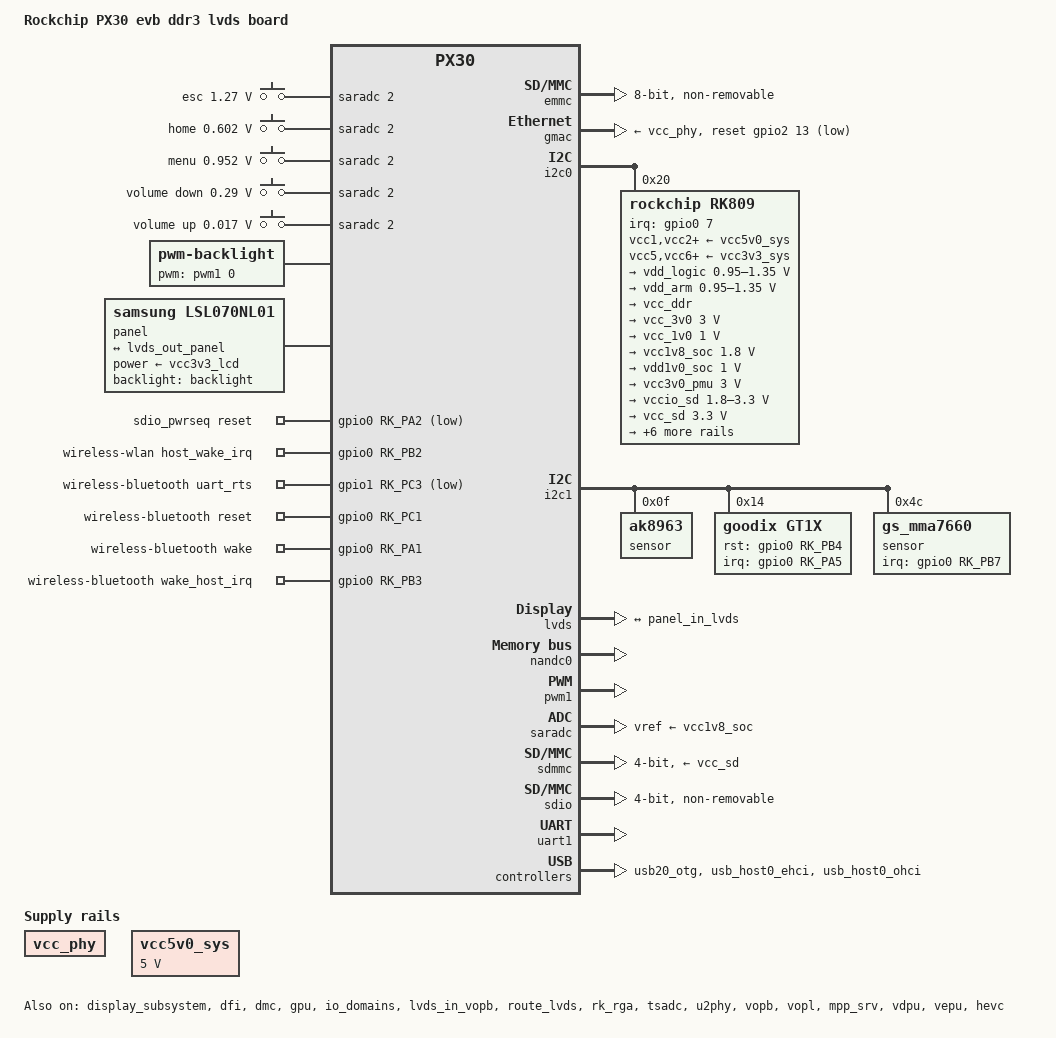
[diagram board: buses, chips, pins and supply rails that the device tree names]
/*
 * Copyright (c) 2017 Fuzhou Rockchip Electronics Co., Ltd
 *
 * SPDX-License-Identifier: (GPL-2.0+ OR MIT)
 */

/dts-v1/;
#include <dt-bindings/gpio/gpio.h>
#include <dt-bindings/pinctrl/rockchip.h>
#include <dt-bindings/input/input.h>
#include <dt-bindings/sensor-dev.h>
#include "px30.dtsi"
#include "px30-android.dtsi"

/ {
	model = "Rockchip PX30 evb ddr3 lvds board";
	compatible = "rockchip,px30-evb-ddr3-lvds-v10", "rockchip,px30";

	adc-keys {
		compatible = "adc-keys";
		io-channels = <&saradc 2>;
		io-channel-names = "buttons";
		poll-interval = <100>;
		keyup-threshold-microvolt = <1800000>;

		esc-key {
			linux,code = <KEY_ESC>;
			label = "esc";
			press-threshold-microvolt = <1270000>;
		};

		home-key {
			linux,code = <KEY_HOME>;
			label = "home";
			press-threshold-microvolt = <602000>;
		};

		menu-key {
			linux,code = <KEY_MENU>;
			label = "menu";
			press-threshold-microvolt = <952000>;
		};

		vol-down-key {
			linux,code = <KEY_VOLUMEDOWN>;
			label = "volume down";
			press-threshold-microvolt = <290000>;
		};

		vol-up-key {
			linux,code = <KEY_VOLUMEUP>;
			label = "volume up";
			press-threshold-microvolt = <17000>;
		};
	};

	backlight: backlight {
		compatible = "pwm-backlight";
		pwms = <&pwm1 0 25000 0>;
		brightness-levels = <
			  0   1   2   3   4   5   6   7
			  8   9  10  11  12  13  14  15
			 16  17  18  19  20  21  22  23
			 24  25  26  27  28  29  30  31
			 32  33  34  35  36  37  38  39
			 40  41  42  43  44  45  46  47
			 48  49  50  51  52  53  54  55
			 56  57  58  59  60  61  62  63
			 64  65  66  67  68  69  70  71
			 72  73  74  75  76  77  78  79
			 80  81  82  83  84  85  86  87
			 88  89  90  91  92  93  94  95
			 96  97  98  99 100 101 102 103
			104 105 106 107 108 109 110 111
			112 113 114 115 116 117 118 119
			120 121 122 123 124 125 126 127
			128 129 130 131 132 133 134 135
			136 137 138 139 140 141 142 143
			144 145 146 147 148 149 150 151
			152 153 154 155 156 157 158 159
			160 161 162 163 164 165 166 167
			168 169 170 171 172 173 174 175
			176 177 178 179 180 181 182 183
			184 185 186 187 188 189 190 191
			192 193 194 195 196 197 198 199
			200 201 202 203 204 205 206 207
			208 209 210 211 212 213 214 215
			216 217 218 219 220 221 222 223
			224 225 226 227 228 229 230 231
			232 233 234 235 236 237 238 239
			240 241 242 243 244 245 246 247
			248 249 250 251 252 253 254 255>;
		default-brightness-level = <200>;
	};

	panel {
		compatible = "samsung,lsl070nl01", "simple-panel";
		backlight = <&backlight>;
		power-supply = <&vcc3v3_lcd>;
		enable-delay-ms = <20>;
		prepare-delay-ms = <20>;
		unprepare-delay-ms = <20>;
		disable-delay-ms = <20>;
		bus-format = <MEDIA_BUS_FMT_RGB888_1X7X4_SPWG>;

		width-mm = <217>;
		height-mm = <136>;

		display-timings {
			native-mode = <&timing0>;

			timing0: timing0 {
				clock-frequency = <49500000>;
				hactive = <1024>;
				vactive = <600>;
				hback-porch = <90>;
				hfront-porch = <90>;
				vback-porch = <10>;
				vfront-porch = <10>;
				hsync-len = <90>;
				vsync-len = <10>;
				hsync-active = <0>;
				vsync-active = <0>;
				de-active = <0>;
				pixelclk-active = <0>;
			};
		};

		port {
			panel_in_lvds: endpoint {
				remote-endpoint = <&lvds_out_panel>;
			};
		};
	};

	sdio_pwrseq: sdio-pwrseq {
		compatible = "mmc-pwrseq-simple";
		/*clocks = <&rk809 1>;*/
		/*clock-names = "ext_clock";*/
		pinctrl-names = "default";
		pinctrl-0 = <&wifi_enable_h>;

		/*
		 * On the module itself this is one of these (depending
		 * on the actual card populated):
		 * - SDIO_RESET_L_WL_REG_ON
		 * - PDN (power down when low)
		 */
		reset-gpios = <&gpio0 RK_PA2 GPIO_ACTIVE_LOW>; /* GPIO3_A4 */
	};

	vcc_phy: vcc-phy-regulator {
		compatible = "regulator-fixed";
		regulator-name = "vcc_phy";
		regulator-always-on;
		regulator-boot-on;
	};

	vcc5v0_sys: vccsys {
		compatible = "regulator-fixed";
		regulator-name = "vcc5v0_sys";
		regulator-always-on;
		regulator-boot-on;
		regulator-min-microvolt = <5000000>;
		regulator-max-microvolt = <5000000>;
	};

	wireless-wlan {
		compatible = "wlan-platdata";
		wifi_chip_type = "AP6210";
		WIFI,host_wake_irq = <&gpio0 RK_PB2 GPIO_ACTIVE_HIGH>;
		status = "okay";
	};

	wireless-bluetooth {
		compatible = "bluetooth-platdata";
		/*clocks = <&rk809 1>;*/
		/*clock-names = "ext_clock";*/
		uart_rts_gpios = <&gpio1 RK_PC3 GPIO_ACTIVE_LOW>;
		pinctrl-names = "default","rts_gpio";
		pinctrl-0 = <&uart1_rts>;
		pinctrl-1 = <&uart1_rts_gpio>;
		BT,reset_gpio = <&gpio0 RK_PC1 GPIO_ACTIVE_HIGH>;
		BT,wake_gpio = <&gpio0 RK_PA1 GPIO_ACTIVE_HIGH>;
		BT,wake_host_irq = <&gpio0 RK_PB3 GPIO_ACTIVE_HIGH>;
		status = "okay";
	};
};

&cpu0 {
	cpu-supply = <&vdd_arm>;
};

&display_subsystem {
	status = "okay";
};

&dfi {
	status = "okay";
};

&dmc {
	center-supply = <&vdd_logic>;
	status = "okay";
};

&emmc {
	bus-width = <8>;
	cap-mmc-highspeed;
	mmc-hs200-1_8v;
	no-sdio;
	no-sd;
	disable-wp;
	non-removable;
	num-slots = <1>;
	status = "okay";
};

&gmac {
	phy-supply = <&vcc_phy>;
	clock_in_out = "output";
	snps,reset-gpio = <&gpio2 13 GPIO_ACTIVE_LOW>;
	snps,reset-active-low;
	snps,reset-delays-us = <0 50000 50000>;
	status = "okay";
};

&gpu {
	mali-supply = <&vdd_logic>;
	status = "okay";
};

&i2c0 {
	status = "okay";

	rk809: pmic@20 {
		compatible = "rockchip,rk809";
		reg = <0x20>;
		interrupt-parent = <&gpio0>;
		interrupts = <7 IRQ_TYPE_LEVEL_LOW>;
		pinctrl-names = "default";
		pinctrl-0 = <&pmic_int>;
		rockchip,system-power-controller;
		wakeup-source;
		#clock-cells = <1>;
		clock-output-names = "rk808-clkout1", "rk808-clkout2";

		vcc1-supply = <&vcc5v0_sys>;
		vcc2-supply = <&vcc5v0_sys>;
		vcc3-supply = <&vcc5v0_sys>;
		vcc4-supply = <&vcc5v0_sys>;
		vcc5-supply = <&vcc3v3_sys>;
		vcc6-supply = <&vcc3v3_sys>;
		vcc7-supply = <&vcc3v3_sys>;
		vcc8-supply = <&vcc3v3_sys>;
		vcc9-supply = <&vcc5v0_sys>;

		regulators {
			vdd_logic: DCDC_REG1 {
				regulator-always-on;
				regulator-boot-on;
				regulator-min-microvolt = <950000>;
				regulator-max-microvolt = <1350000>;
				regulator-ramp-delay = <6001>;
				regulator-initial-mode = <0x1>;
				regulator-name = "vdd_logic";
				regulator-state-mem {
					regulator-on-in-suspend;
					regulator-suspend-microvolt = <950000>;
				};
			};

			vdd_arm: DCDC_REG2 {
				regulator-always-on;
				regulator-boot-on;
				regulator-min-microvolt = <950000>;
				regulator-max-microvolt = <1350000>;
				regulator-ramp-delay = <6001>;
				regulator-initial-mode = <0x1>;
				regulator-name = "vdd_arm";
				regulator-state-mem {
					regulator-off-in-suspend;
					regulator-suspend-microvolt = <950000>;
				};
			};

			vcc_ddr: DCDC_REG3 {
				regulator-always-on;
				regulator-boot-on;
				regulator-name = "vcc_ddr";
				regulator-initial-mode = <0x1>;
				regulator-state-mem {
					regulator-on-in-suspend;
				};
			};

			vcc_3v0: DCDC_REG4 {
				regulator-always-on;
				regulator-boot-on;
				regulator-min-microvolt = <3000000>;
				regulator-max-microvolt = <3000000>;
				regulator-initial-mode = <0x1>;
				regulator-name = "vcc_3v0";
				regulator-state-mem {
					regulator-off-in-suspend;
					regulator-suspend-microvolt = <3000000>;
				};
			};

			vcc_1v0: LDO_REG1 {
				regulator-always-on;
				regulator-boot-on;
				regulator-min-microvolt = <1000000>;
				regulator-max-microvolt = <1000000>;
				regulator-name = "vcc_1v0";
				regulator-state-mem {
					regulator-on-in-suspend;
					regulator-suspend-microvolt = <1000000>;
				};
			};

			vcc1v8_soc: LDO_REG2 {
				regulator-always-on;
				regulator-boot-on;
				regulator-min-microvolt = <1800000>;
				regulator-max-microvolt = <1800000>;

				regulator-name = "vcc1v8_soc";
				regulator-state-mem {
					regulator-on-in-suspend;
					regulator-suspend-microvolt = <1800000>;
				};
			};

			vdd1v0_soc: LDO_REG3 {
				regulator-always-on;
				regulator-boot-on;
				regulator-min-microvolt = <1000000>;
				regulator-max-microvolt = <1000000>;

				regulator-name = "vcc1v0_soc";
				regulator-state-mem {
					regulator-on-in-suspend;
					regulator-suspend-microvolt = <1000000>;
				};
			};

			vcc3v0_pmu: LDO_REG4 {
				regulator-always-on;
				regulator-boot-on;
				regulator-min-microvolt = <3000000>;
				regulator-max-microvolt = <3000000>;

				regulator-name = "vcc3v0_pmu";
				regulator-state-mem {
					regulator-on-in-suspend;
					regulator-suspend-microvolt = <3000000>;

				};
			};

			vccio_sd: LDO_REG5 {
				regulator-always-on;
				regulator-boot-on;
				regulator-min-microvolt = <1800000>;
				regulator-max-microvolt = <3300000>;

				regulator-name = "vccio_sd";
				regulator-state-mem {
					regulator-on-in-suspend;
					regulator-suspend-microvolt = <3300000>;
				};
			};

			vcc_sd: LDO_REG6 {
				regulator-min-microvolt = <3300000>;
				regulator-max-microvolt = <3300000>;

				regulator-name = "vcc_sd";
				regulator-state-mem {
					regulator-on-in-suspend;
					regulator-suspend-microvolt = <3300000>;

				};
			};

			vcc2v8_dvp: LDO_REG7 {
				regulator-always-on;
				regulator-boot-on;
				regulator-min-microvolt = <2800000>;
				regulator-max-microvolt = <2800000>;

				regulator-name = "vcc2v8_dvp";
				regulator-state-mem {
					regulator-off-in-suspend;
					regulator-suspend-microvolt = <2800000>;
				};
			};

			vcc1v8_dvp: LDO_REG8 {
				regulator-always-on;
				regulator-boot-on;
				regulator-min-microvolt = <1800000>;
				regulator-max-microvolt = <1800000>;

				regulator-name = "vcc1v8_dvp";
				regulator-state-mem {
					regulator-on-in-suspend;
					regulator-suspend-microvolt = <1800000>;
				};
			};

			vdd1v5_dvp: LDO_REG9 {
				regulator-always-on;
				regulator-boot-on;
				regulator-min-microvolt = <1500000>;
				regulator-max-microvolt = <1500000>;

				regulator-name = "vdd1v5_dvp";
				regulator-state-mem {
					regulator-off-in-suspend;
					regulator-suspend-microvolt = <1500000>;
				};
			};

			vcc3v3_sys: DCDC_REG5 {
				regulator-always-on;
				regulator-boot-on;
				regulator-min-microvolt = <3300000>;
				regulator-max-microvolt = <3300000>;
				regulator-name = "vcc3v3_sys";
				regulator-state-mem {
					regulator-on-in-suspend;
					regulator-suspend-microvolt = <3300000>;
				};
			};

			vcc3v3_lcd: SWITCH_REG1 {
				regulator-boot-on;
				regulator-name = "vcc3v3_lcd";
			};

			vcc5v0_host: SWITCH_REG2 {
				regulator-always-on;
				regulator-boot-on;
				regulator-name = "vcc5v0_host";
			};
		};
	};
};

&i2c1 {
	status = "okay";

	sensor@f {
		status = "okay";
		compatible = "ak8963";
		reg = <0x0f>;
		type = <SENSOR_TYPE_COMPASS>;
		irq_enable = <0>;
		poll_delay_ms = <30>;
		layout = <1>;
		reprobe_en = <1>;
	};

	gt1x: gt1x@14 {
	      compatible = "goodix,gt1x";
	      reg = <0x14>;
	      goodix,rst-gpio = <&gpio0 RK_PB4 GPIO_ACTIVE_HIGH>;
	      goodix,irq-gpio = <&gpio0 RK_PA5 IRQ_TYPE_LEVEL_LOW>;
	};

	sensor@4c {
		status = "okay";
		compatible = "gs_mma7660";
		reg = <0x4c>;
		type = <SENSOR_TYPE_ACCEL>;
		irq-gpio = <&gpio0 RK_PB7 IRQ_TYPE_LEVEL_LOW>;
		irq_enable = <0>;
		poll_delay_ms = <30>;
		layout = <2>;
		reprobe_en = <1>;
	};
};

&io_domains {
	status = "okay";

	vccio1-supply = <&vcc1v8_soc>;
	vccio2-supply = <&vccio_sd>;
	vccio3-supply = <&vcc_3v0>;
	vccio4-supply = <&vcc3v0_pmu>;
	vccio5-supply = <&vcc_3v0>;
};

&lvds {
	status = "okay";

	ports {
		port@1 {
			reg = <1>;

			lvds_out_panel: endpoint {
				remote-endpoint = <&panel_in_lvds>;
			};
		};
	};
};

&lvds_in_vopb {
	status = "okay";
};

&lvds_in_vopl {
	status = "disabled";
};

&route_lvds {
	connect = <&vopb_out_lvds>;
	status = "okay";
};

&nandc0 {
	status = "okay";
};

&pinctrl {
	pmic {
		pmic_int: pmic_int {
			rockchip,pins =
				<0 RK_PA7 RK_FUNC_GPIO &pcfg_pull_up>;
		};
	};

	sdio-pwrseq {
		wifi_enable_h: wifi-enable-h {
			rockchip,pins = <0 RK_PA2 RK_FUNC_GPIO &pcfg_pull_none>;
		};
	};
};

&pmu_io_domains {
	status = "okay";

	pmuio1-supply = <&vcc3v0_pmu>;
	pmuio2-supply = <&vcc3v0_pmu>;
};

&pwm1 {
	status = "okay";
};

&rk_rga {
	status = "okay";
};

&saradc {
	status = "okay";
	vref-supply = <&vcc1v8_soc>;
};

&sdmmc {
	bus-width = <4>;
	cap-mmc-highspeed;
	cap-sd-highspeed;
	no-sdio;
	no-mmc;
	card-detect-delay = <800>;
	ignore-pm-notify;
	/*cd-gpios = <&gpio2 4 GPIO_ACTIVE_HIGH>; [> CD GPIO <]*/
	sd-uhs-sdr12;
	sd-uhs-sdr25;
	sd-uhs-sdr50;
	sd-uhs-sdr104;
	vqmmc-supply = <&vccio_sd>;
	vmmc-supply = <&vcc_sd>;
	status = "okay";
};

&sdio {
	bus-width = <4>;
	cap-sd-highspeed;
	no-sd;
	no-mmc;
	ignore-pm-notify;
	keep-power-in-suspend;
	non-removable;
	mmc-pwrseq = <&sdio_pwrseq>;
	sd-uhs-sdr104;
	status = "okay";
};

&tsadc {
	pinctrl-names = "gpio", "otpout";
	pinctrl-0 = <&tsadc_otp_gpio>;
	pinctrl-1 = <&tsadc_otp_out>;
	status = "okay";
};

&uart1 {
	pinctrl-names = "default";
	pinctrl-0 = <&uart1_xfer &uart1_cts>;
	status = "okay";
};

&u2phy {
	status = "okay";

	u2phy_host: host-port {
		status = "okay";
	};

	u2phy_otg: otg-port {
		status = "okay";
	};
};

&usb20_otg {
	status = "okay";
};

&usb_host0_ehci {
	status = "okay";
};

&usb_host0_ohci {
	status = "okay";
};

&vopb {
	status = "okay";
};

&vopb_mmu {
	status = "okay";
};

&vopl {
	status = "okay";
};

&vopl_mmu {
	status = "okay";
};

&mpp_srv {
	status = "okay";
};

&vdpu {
	status = "okay";
};

&vepu {
	status = "okay";
};

&vpu_mmu {
	status = "okay";
};

&hevc {
	status = "okay";
};

&hevc_mmu {
	status = "okay";
};

&firmware_android {
	compatible = "android,firmware";
	fstab {
		compatible = "android,fstab";
		system {
			compatible = "android,system";
			dev = "/dev/block/by-name/system";
			type = "ext4";
			mnt_flags = "ro,barrier=1,inode_readahead_blks=8";
			fsmgr_flags = "wait";
		};
		vendor {
			compatible = "android,vendor";
			dev = "/dev/block/by-name/vendor";
			type = "ext4";
			mnt_flags = "ro,barrier=1,inode_readahead_blks=8";
			fsmgr_flags = "wait";
		};
	};
};
